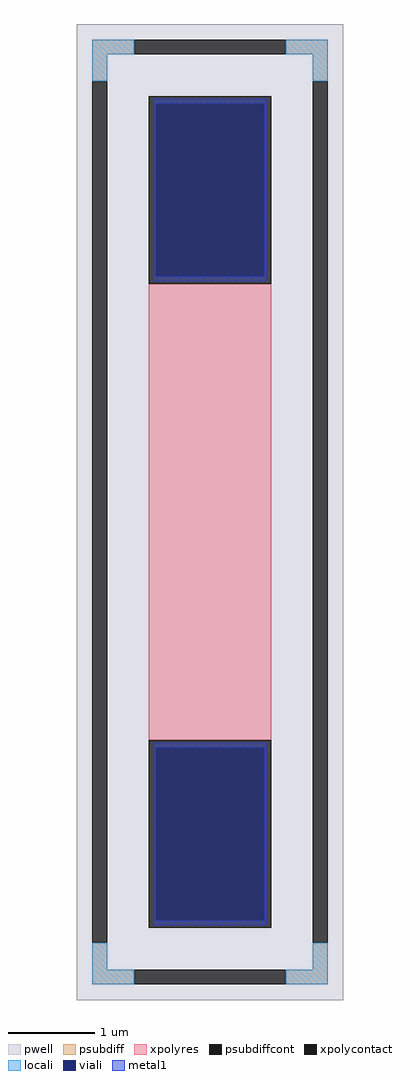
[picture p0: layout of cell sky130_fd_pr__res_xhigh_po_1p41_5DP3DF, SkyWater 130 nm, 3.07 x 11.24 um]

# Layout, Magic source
magic
tech sky130A
magscale 1 2
<< pwell >>
rect -307 -1124 307 1124
<< psubdiff >>
rect -271 1054 -175 1088
rect 175 1054 271 1088
rect -271 992 -237 1054
rect 237 992 271 1054
rect -271 -1054 -237 -992
rect 237 -1054 271 -992
rect -271 -1088 -175 -1054
rect 175 -1088 271 -1054
<< psubdiffcont >>
rect -175 1054 175 1088
rect -271 -992 -237 992
rect 237 -992 271 992
rect -175 -1088 175 -1054
<< xpolycontact >>
rect -141 526 141 958
rect -141 -958 141 -526
<< xpolyres >>
rect -141 -526 141 526
<< locali >>
rect -271 1054 -175 1088
rect 175 1054 271 1088
rect -271 992 -237 1054
rect 237 992 271 1054
rect -271 -1054 -237 -992
rect 237 -1054 271 -992
rect -271 -1088 -175 -1054
rect 175 -1088 271 -1054
<< viali >>
rect -125 543 125 940
rect -125 -940 125 -543
<< metal1 >>
rect -131 940 131 952
rect -131 543 -125 940
rect 125 543 131 940
rect -131 531 131 543
rect -131 -543 131 -531
rect -131 -940 -125 -543
rect 125 -940 131 -543
rect -131 -952 131 -940
<< properties >>
string FIXED_BBOX -254 -1071 254 1071
string gencell sky130_fd_pr__res_xhigh_po_1p41
string library sky130
string parameters w 1.410 l 5.423 m 1 nx 1 wmin 1.410 lmin 0.50 rho 2000 val 7.959k dummy 0 dw 0.0 term 188.2 sterm 0.0 caplen 0 wmax 1.410 guard 1 glc 1 grc 1 gtc 1 gbc 1 compatible {sky130_fd_pr__res_xhigh_po_0p35  sky130_fd_pr__res_xhigh_po_0p69 sky130_fd_pr__res_xhigh_po_1p41  sky130_fd_pr__res_xhigh_po_2p85 sky130_fd_pr__res_xhigh_po_5p73} snake 0 full_metal 1 n_guard 0 hv_guard 0 vias 1 viagb 0 viagt 0 viagl 0 viagr 0
<< end >>
